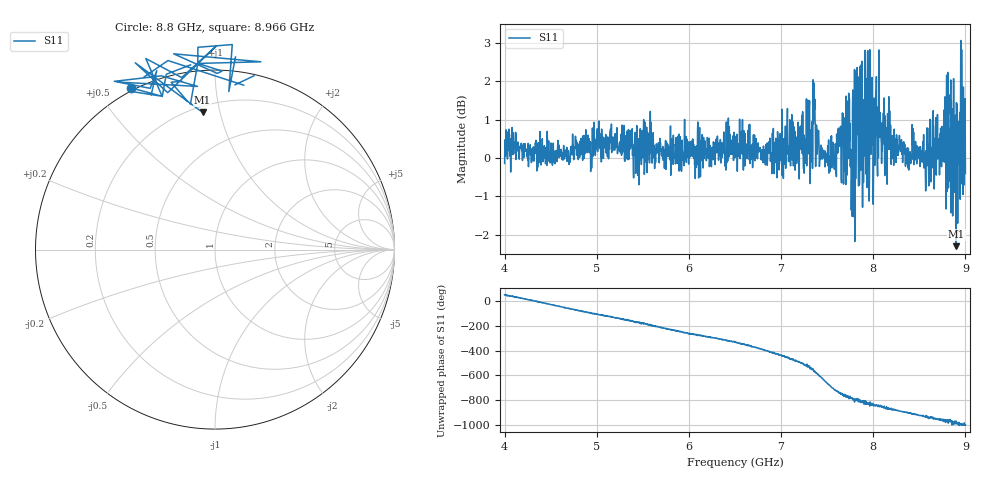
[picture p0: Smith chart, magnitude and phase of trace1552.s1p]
! Created with skrf 1.8.0 (http://scikit-rf.org).
# Hz S RI R 50.0
!freq ReS11 ImS11
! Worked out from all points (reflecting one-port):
!   1601 points, 4 GHz to 9 GHz, reference 50 ohm
!   lowest |S11| = -2.3 dB at 8.9 GHz (marker M1), VSWR 7.62, Z = 11.9 + j44.2 ohm
!   phase of S11 starts at 52 deg and turns -1050 deg over the sweep
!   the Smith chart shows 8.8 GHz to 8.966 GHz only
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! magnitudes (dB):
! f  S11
! 4 GHz  -0.1
! 4.1 GHz  0.1
! 4.625 GHz  0.0
! 5.25 GHz  0.2
! 5.875 GHz  0.1
! 6.5 GHz  0.3
! 7.125 GHz  0.8
! 7.319 GHz  0.7
! 7.372 GHz  0.9
! 7.4 GHz  0.5
! 7.506 GHz  0.3
! 7.65 GHz  0.1
! 7.678 GHz  -0.7
! 7.731 GHz  0.0
! 7.75 GHz  -0.2
! 7.775 GHz  1.3
! 7.822 GHz  0.8
! 7.909 GHz  2.1
! 7.922 GHz  0.6
! 7.962 GHz  2.8
! 7.981 GHz  0.6
! 8.05 GHz  1.3
! 8.375 GHz  0.2
! 8.581 GHz  -0.2
! 8.753 GHz  0.8
! 8.9 GHz  -2.3
! 8.953 GHz  -0.7
! 9 GHz  -0.4
